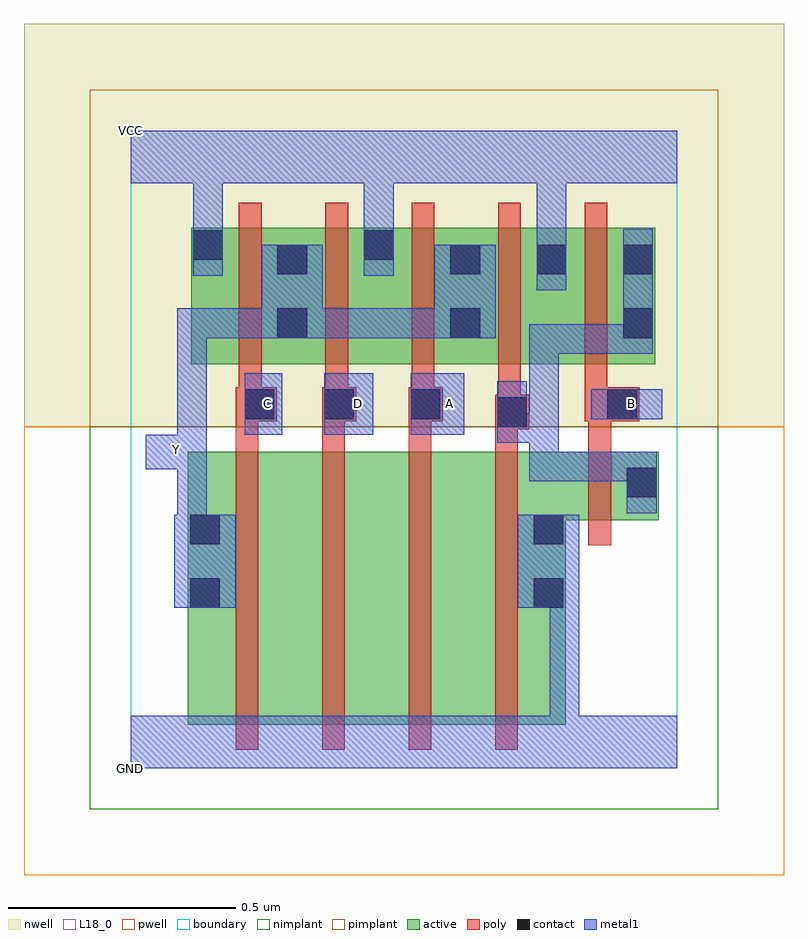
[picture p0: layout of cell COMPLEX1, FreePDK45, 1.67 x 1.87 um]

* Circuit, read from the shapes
.subckt COMPLEX1 A B C D GND VCC Y
M1 n1 C Y VSUBS nfet w=0.6u l=0.05u
M2 n2 D n1 VSUBS nfet w=0.6u l=0.05u
M3 n3 A n2 VSUBS nfet w=0.6u l=0.05u
M4 GND n4 n3 VSUBS nfet w=0.6u l=0.05u
M5 n4 B GND VSUBS nfet w=0.15u l=0.05u
M6 Y C VCC n5 pfet w=0.3u l=0.05u
M7 VCC D Y n5 pfet w=0.3u l=0.05u
M8 Y A VCC n5 pfet w=0.3u l=0.05u
M9 VCC n4 Y n5 pfet w=0.3u l=0.05u
M10 n4 B VCC n5 pfet w=0.3u l=0.05u
.ends

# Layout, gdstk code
import gdstk
lib = gdstk.Library(unit=1e-6, precision=1e-09)
def R(c, l, rs):  # rectangles x0, y0, x1, y1
    for r in rs: c.add(gdstk.rectangle(r[:2], r[2:], *l))
def A(c, l, x, y, w, h, nx, ny, dx, dy):  # array of equal rectangles
    R(c, l, [(x+i*dx, y+j*dy, x+i*dx+w, y+j*dy+h) for i in range(nx) for j in range(ny)])
active = (1, 0)
pwell = (2, 0)
nwell = (3, 0)
nimplant = (4, 0)
pimplant = (5, 0)
poly = (9, 0)
contact = (10, 0)
metal1 = (11, 0)
L18_0 = (18, 0)
boundary = (235, 0)

complex1 = lib.new_cell('COMPLEX1')
A(complex1, active, 0.317, 0.887, 0.265, 0.3, 4, 1, 0.19, 0)
R(complex1, active, [(0.125,0.095,0.35,0.695), (0.125,0.095,0.23,0.695), (0.35,0.095,0.54,0.695), (0.54,0.095,0.73,0.695), (0.73,0.095,0.955,0.695), (0.88,0.347,0.955,0.692), (0.88,0.545,1.16,0.695), (1.085,0.545,1.16,0.695), (0.132,0.887,0.392,1.187), (0.132,0.887,0.207,1.187), (1.077,0.887,1.152,1.167), (0.697,0.915,0.772,1.167), (0.317,0.94,0.392,1.167), (0.507,1.007,0.582,1.187), (0.887,1.007,0.962,1.187)])
R(complex1, pwell, [(-0.235,-0.235,1.435,0.75)])
R(complex1, nwell, [(-0.235,0.75,1.435,1.635)])
R(complex1, nimplant, [(-0.09,-0.09,1.29,0.75)])
R(complex1, pimplant, [(-0.09,0.75,1.29,1.49)])
A(complex1, poly, 0.23, 0.04, 0.05, 0.71, 4, 1, 0.19, 0)
A(complex1, poly, 0.23, 0.7, 0.05, 0.112, 3, 1, 0.19, 0)
A(complex1, poly, 0.237, 0.787, 0.05, 0.095, 3, 1, 0.19, 0)
A(complex1, poly, 0.237, 0.832, 0.05, 0.41, 5, 1, 0.19, 0)
R(complex1, poly, [(1.005,0.49,1.055,0.75), (0.8,0.7,0.85,0.795), (1.005,0.7,1.055,0.812), (0.8,0.745,0.875,0.82), (0.23,0.762,0.32,0.837), (0.42,0.762,0.495,0.837), (0.61,0.762,0.685,0.837), (0.997,0.762,1.117,0.837), (0.807,0.77,0.857,0.882), (0.997,0.787,1.047,0.882)])
A(complex1, contact, 0.322, 0.945, 0.065, 0.065, 3, 1, 0.38, 0)
A(complex1, contact, 0.702, 1.085, 0.065, 0.065, 3, 1, 0.19, 0)
R(complex1, contact, [(0.13,0.352,0.195,0.417), (0.885,0.352,0.95,0.417), (0.13,0.492,0.195,0.557), (0.885,0.492,0.95,0.557), (1.09,0.595,1.155,0.66), (0.805,0.75,0.87,0.815), (0.25,0.767,0.315,0.832), (0.425,0.767,0.49,0.832), (0.615,0.767,0.68,0.832), (1.047,0.767,1.112,0.832), (0.322,1.085,0.387,1.15), (0.137,1.117,0.202,1.182), (0.512,1.117,0.577,1.182)])
R(complex1, metal1, [(0,0,1.2,0.115), (0.92,0.05,0.985,0.417), (0.095,0.352,0.23,0.557), (0.85,0.352,0.985,0.557), (0.102,0.492,0.167,0.722), (1.09,0.56,1.155,0.695), (0.875,0.63,0.94,0.695), (0.875,0.63,1.155,0.695), (0.875,0.63,0.94,0.78), (1.09,0.63,1.155,0.695), (1.09,0.63,1.155,0.695), (0.032,0.657,0.167,0.732), (0.102,0.667,0.167,1.01), (0.805,0.715,0.87,0.85), (0.805,0.715,0.94,0.78), (0.875,0.715,0.94,0.78), (0.875,0.715,0.94,0.975), (0.25,0.732,0.332,0.867), (0.425,0.732,0.532,0.867), (0.615,0.732,0.732,0.867), (1.012,0.767,1.167,0.832), (0.875,0.91,0.94,0.975), (0.875,0.91,1.147,0.975), (1.082,0.91,1.147,0.975), (1.082,0.91,1.147,0.975), (1.082,0.91,1.147,1.185), (0.102,0.945,0.167,1.01), (0.102,0.945,0.167,1.01), (0.102,0.945,0.17,1.01), (0.105,0.945,0.352,1.01), (0.287,0.945,0.422,1.15), (0.357,0.945,0.462,1.01), (0.397,0.945,0.462,1.01), (0.397,0.945,0.56,1.01), (0.495,0.945,0.56,1.01), (0.495,0.945,0.732,1.01), (0.667,0.945,0.732,1.01), (0.667,0.945,0.732,1.01), (0.667,0.945,0.802,1.15), (0.892,1.05,0.957,1.185), (0.137,1.082,0.202,1.217), (0.512,1.082,0.577,1.217), (0.892,1.12,0.957,1.35), (0.137,1.152,0.202,1.217), (0.137,1.152,0.202,1.225), (0.512,1.152,0.577,1.217), (0.512,1.152,0.577,1.217), (0.512,1.152,0.577,1.35), (0.137,1.16,0.202,1.35), (0,1.285,1.2,1.4), (0.892,1.285,0.957,1.35), (0.892,1.285,0.957,1.35)])
A(complex1, L18_0, 0.267, 0.767, 0.065, 0.065, 3, 1, 0.2, 0)
R(complex1, L18_0, [(0,0,1.2,0.115), (0.92,0.05,0.985,0.417), (0.095,0.352,0.23,0.557), (0.85,0.352,0.985,0.557), (0.102,0.492,0.167,0.722), (0.032,0.657,0.167,0.732), (0.067,0.667,0.132,0.732), (0.102,0.667,0.167,1.01), (0.25,0.732,0.332,0.867), (0.425,0.732,0.532,0.867), (0.615,0.732,0.732,0.867), (1.012,0.767,1.167,0.832), (1.067,0.767,1.132,0.832), (0.102,0.945,0.167,1.01), (0.102,0.945,0.167,1.01), (0.102,0.945,0.17,1.01), (0.105,0.945,0.352,1.01), (0.287,0.945,0.422,1.15), (0.357,0.945,0.462,1.01), (0.397,0.945,0.462,1.01), (0.397,0.945,0.56,1.01), (0.495,0.945,0.56,1.01), (0.495,0.945,0.732,1.01), (0.667,0.945,0.802,1.15), (0.667,0.945,0.732,1.01), (0.667,0.945,0.732,1.01), (0.892,1.05,0.957,1.185), (0.137,1.082,0.202,1.217), (0.512,1.082,0.577,1.217), (0.892,1.12,0.957,1.35), (0.137,1.152,0.202,1.217), (0.137,1.152,0.202,1.225), (0.512,1.152,0.577,1.217), (0.512,1.152,0.577,1.217), (0.512,1.152,0.577,1.35), (0.137,1.16,0.202,1.35), (0,1.285,1.2,1.4), (0.892,1.285,0.957,1.35), (0.892,1.285,0.957,1.35)])
R(complex1, boundary, [(0,0,1.2,1.4)])
complex1.add(gdstk.Label('A', (0.7,0.8), layer=11, texttype=0))
complex1.add(gdstk.Label('B', (1.1,0.8), layer=11, texttype=0))
complex1.add(gdstk.Label('C', (0.3,0.8), layer=11, texttype=0))
complex1.add(gdstk.Label('D', (0.5,0.8), layer=11, texttype=0))
complex1.add(gdstk.Label('Y', (0.1,0.7), layer=11, texttype=0))
complex1.add(gdstk.Label('VCC', (0,1.4), layer=11, texttype=0))
complex1.add(gdstk.Label('GND', (0,0), layer=11, texttype=0))

lib.write_gds('COMPLEX1.gds')
